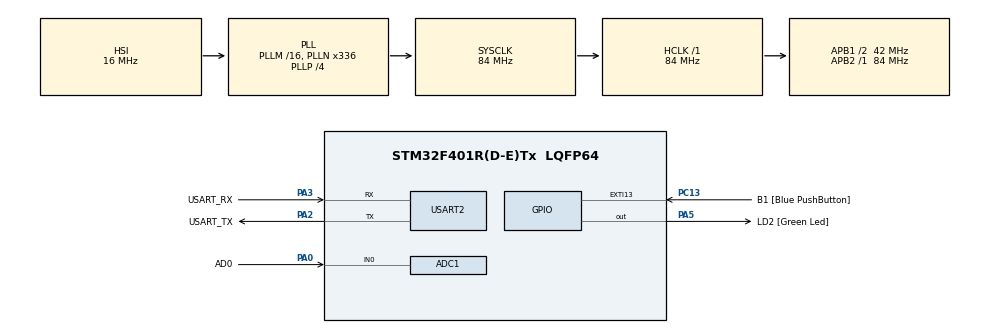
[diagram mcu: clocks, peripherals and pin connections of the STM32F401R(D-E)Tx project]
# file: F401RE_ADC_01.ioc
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ADC1.Channel-0\#ChannelRegularConversion=ADC_CHANNEL_0
ADC1.ContinuousConvMode=ENABLE
ADC1.NbrOfConversionFlag=1
ADC1.Rank-0\#ChannelRegularConversion=1
ADC1.SamplingTime-0\#ChannelRegularConversion=ADC_SAMPLETIME_3CYCLES
ADC1.master=1
Mcu.Family=STM32F4
Mcu.Name=STM32F401R(D-E)Tx
Mcu.Package=LQFP64
NVIC.ADC_IRQn=true\:0\:0\:false\:false\:true
NVIC.PriorityGroup=NVIC_PRIORITYGROUP_0
NVIC.USART2_IRQn=true\:0\:0\:false\:false\:true
PA0-WKUP.GPIO_Label=AD0
PA0-WKUP.Signal=ADCx_IN0
PA13.GPIO_Label=TMS
PA13.Signal=SYS_JTMS-SWDIO
PA14.GPIO_Label=TCK
PA14.Signal=SYS_JTCK-SWCLK
PA2.GPIO_Label=USART_TX
PA2.GPIO_Mode=GPIO_MODE_AF_PP
PA2.GPIO_PuPd=GPIO_NOPULL
PA2.GPIO_Speed=GPIO_SPEED_FREQ_LOW
PA2.Mode=Asynchronous
PA2.Signal=USART2_TX
PA3.GPIO_Label=USART_RX
PA3.GPIO_Mode=GPIO_MODE_AF_PP
PA3.GPIO_PuPd=GPIO_NOPULL
PA3.GPIO_Speed=GPIO_SPEED_FREQ_LOW
PA3.Mode=Asynchronous
PA3.Signal=USART2_RX
PA5.GPIO_Label=LD2 [Green Led]
PA5.GPIO_Mode=GPIO_MODE_OUTPUT_PP
PA5.GPIO_PuPd=GPIO_NOPULL
PA5.GPIO_Speed=GPIO_SPEED_FREQ_LOW
PA5.Signal=GPIO_Output
PB3.GPIO_Label=SWO
PB3.Signal=SYS_JTDO-SWO
PC13-ANTI_TAMP.GPIO_Label=B1 [Blue PushButton]
PC13-ANTI_TAMP.GPIO_ModeDefaultEXTI=GPIO_MODE_EVT_RISING
PC13-ANTI_TAMP.GPIO_PuPd=GPIO_NOPULL
PC13-ANTI_TAMP.Signal=GPXTI13
PC14-OSC32_IN.Signal=RCC_OSC32_IN
PC15-OSC32_OUT.Signal=RCC_OSC32_OUT
PH0\ -\ OSC_IN.Signal=RCC_OSC_IN
PH1\ -\ OSC_OUT.Signal=RCC_OSC_OUT
ProjectManager.HeapSize=0x200
ProjectManager.StackSize=0x400
ProjectManager.TargetToolchain=MDK-ARM V5
RCC.AHBFreq_Value=84000000
RCC.APB1CLKDivider=RCC_HCLK_DIV2
RCC.APB1Freq_Value=42000000
RCC.APB1TimFreq_Value=84000000
RCC.APB2Freq_Value=84000000
RCC.APB2TimFreq_Value=84000000
RCC.CortexFreq_Value=84000000
RCC.HCLKFreq_Value=84000000
RCC.HSE_VALUE=8000000
RCC.HSI_VALUE=16000000
RCC.LSE_VALUE=32768
RCC.PLLN=336
RCC.PLLP=RCC_PLLP_DIV4
RCC.PLLQ=7
RCC.SYSCLKFreq_VALUE=84000000
RCC.SYSCLKSource=RCC_SYSCLKSOURCE_PLLCLK
RCC.VCOOutputFreq_Value=336000000
SH.ADCx_IN0.0=ADC1_IN0,IN0
board=NUCLEO-F401RE

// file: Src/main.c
/**
  ******************************************************************************
  * File Name          : main.c
  * Description        : Main program body
  ******************************************************************************
  *
  * COPYRIGHT(c) 2016 STMicroelectronics
  *
  * Redistribution and use in source and binary forms, with or without modification,
  * are permitted provided that the following conditions are met:
  *   1. Redistributions of source code must retain the above copyright notice,
  *      this list of conditions and the following disclaimer.
  *   2. Redistributions in binary form must reproduce the above copyright notice,
  *      this list of conditions and the following disclaimer in the documentation
  *      and/or other materials provided with the distribution.
  *   3. Neither the name of STMicroelectronics nor the names of its contributors
  *      may be used to endorse or promote products derived from this software
  *      without specific prior written permission.
  *
  * THIS SOFTWARE IS PROVIDED BY THE COPYRIGHT HOLDERS AND CONTRIBUTORS "AS IS"
  * AND ANY EXPRESS OR IMPLIED WARRANTIES, INCLUDING, BUT NOT LIMITED TO, THE
  * IMPLIED WARRANTIES OF MERCHANTABILITY AND FITNESS FOR A PARTICULAR PURPOSE ARE
  * DISCLAIMED. IN NO EVENT SHALL THE COPYRIGHT HOLDER OR CONTRIBUTORS BE LIABLE
  * FOR ANY DIRECT, INDIRECT, INCIDENTAL, SPECIAL, EXEMPLARY, OR CONSEQUENTIAL
  * DAMAGES (INCLUDING, BUT NOT LIMITED TO, PROCUREMENT OF SUBSTITUTE GOODS OR
  * SERVICES; LOSS OF USE, DATA, OR PROFITS; OR BUSINESS INTERRUPTION) HOWEVER
  * CAUSED AND ON ANY THEORY OF LIABILITY, WHETHER IN CONTRACT, STRICT LIABILITY,
  * OR TORT (INCLUDING NEGLIGENCE OR OTHERWISE) ARISING IN ANY WAY OUT OF THE USE
  * OF THIS SOFTWARE, EVEN IF ADVISED OF THE POSSIBILITY OF SUCH DAMAGE.
  *
  ******************************************************************************
  */
#include "stm32f4xx_hal.h"

/* USER CODE BEGIN Includes */
#include <stdio.h>
#include <stdlib.h>
#include <string.h>
/* USER CODE END Includes */

ADC_HandleTypeDef hadc1;
UART_HandleTypeDef huart2;

/* USER CODE BEGIN PV */
/* Private variables ---------------------------------------------------------*/
int AdcValue = 0;
/* USER CODE END PV */

void SystemClock_Config(void);
void Error_Handler(void);
static void MX_GPIO_Init(void);
static void MX_ADC1_Init(void);
static void MX_USART2_UART_Init(void);

/* USER CODE BEGIN PFP */
/* Private function prototypes -----------------------------------------------*/
char sio_getc(void);		// UARTから1文字取得
void sio_putc(char);		// UARTに1文字を出力
void sio_puts(char *);	// UARTに文字列を出力
/* USER CODE END PFP */

/* USER CODE BEGIN 0 */
char sio_getc()
{
	char ch;
	while(HAL_UART_Receive(&huart2, (uint8_t *)&ch, 1, 1000)==HAL_TIMEOUT) ;
	return ch;
}

void sio_putc(char ch)
{
	HAL_UART_Transmit(&huart2, (uint8_t *)&ch, 1, 1000);
}

void sio_puts(char *str)
{
	HAL_UART_Transmit(&huart2, (uint8_t *)str, strlen(str), 1000);
}

void HAL_ADC_ConvCpltCallback(ADC_HandleTypeDef* hadc)
{
	AdcValue = HAL_ADC_GetValue(hadc);
	sio_puts("ADC IT\n");
}
/* USER CODE END 0 */

int main(void)
{

  /* USER CODE BEGIN 1 */
	char str[16];

  /* USER CODE END 1 */

  /* MCU Configuration----------------------------------------------------------*/

  /* Reset of all peripherals, Initializes the Flash interface and the Systick. */
  HAL_Init();

  /* Configure the system clock */
  SystemClock_Config();

  /* Initialize all configured peripherals */
  MX_GPIO_Init();
  MX_ADC1_Init();
  MX_USART2_UART_Init();

  /* USER CODE BEGIN 2 */
	HAL_ADCEx_InjectedStart(&hadc1);
	HAL_ADC_Start_IT(&hadc1);
  /* USER CODE END 2 */

  /* Infinite loop */
  /* USER CODE BEGIN WHILE */
  while (1)
  {
	  sprintf(str, "AD0: %04X\n", AdcValue);
	  sio_puts(str);
	  HAL_Delay(100);
  /* USER CODE END WHILE */

  }

}

/** System Clock Configuration
*/
void SystemClock_Config(void)
{

  RCC_OscInitTypeDef RCC_OscInitStruct;
  RCC_ClkInitTypeDef RCC_ClkInitStruct;

  __HAL_RCC_PWR_CLK_ENABLE();

  __HAL_PWR_VOLTAGESCALING_CONFIG(PWR_REGULATOR_VOLTAGE_SCALE2);

  RCC_OscInitStruct.OscillatorType = RCC_OSCILLATORTYPE_HSI;
  RCC_OscInitStruct.HSIState = RCC_HSI_ON;
  RCC_OscInitStruct.HSICalibrationValue = 16;
  RCC_OscInitStruct.PLL.PLLState = RCC_PLL_ON;
  RCC_OscInitStruct.PLL.PLLSource = RCC_PLLSOURCE_HSI;
  RCC_OscInitStruct.PLL.PLLM = 16;
  RCC_OscInitStruct.PLL.PLLN = 336;
  RCC_OscInitStruct.PLL.PLLP = RCC_PLLP_DIV4;
  RCC_OscInitStruct.PLL.PLLQ = 7;
  if (HAL_RCC_OscConfig(&RCC_OscInitStruct) != HAL_OK)
  {
    Error_Handler();
  }

  RCC_ClkInitStruct.ClockType = RCC_CLOCKTYPE_HCLK|RCC_CLOCKTYPE_SYSCLK
                              |RCC_CLOCKTYPE_PCLK1|RCC_CLOCKTYPE_PCLK2;
  RCC_ClkInitStruct.SYSCLKSource = RCC_SYSCLKSOURCE_PLLCLK;
  RCC_ClkInitStruct.AHBCLKDivider = RCC_SYSCLK_DIV1;
  RCC_ClkInitStruct.APB1CLKDivider = RCC_HCLK_DIV2;
  RCC_ClkInitStruct.APB2CLKDivider = RCC_HCLK_DIV1;
  if (HAL_RCC_ClockConfig(&RCC_ClkInitStruct, FLASH_LATENCY_2) != HAL_OK)
  {
    Error_Handler();
  }

  HAL_SYSTICK_Config(HAL_RCC_GetHCLKFreq()/1000);

  HAL_SYSTICK_CLKSourceConfig(SYSTICK_CLKSOURCE_HCLK);

  /* SysTick_IRQn interrupt configuration */
  HAL_NVIC_SetPriority(SysTick_IRQn, 0, 0);
}

/* ADC1 init function */
static void MX_ADC1_Init(void)
{

  ADC_ChannelConfTypeDef sConfig;

    /**Configure the global features of the ADC (Clock, Resolution, Data Alignment and number of conversion)
    */
  hadc1.Instance = ADC1;
  hadc1.Init.ClockPrescaler = ADC_CLOCK_SYNC_PCLK_DIV4;
  hadc1.Init.Resolution = ADC_RESOLUTION_12B;
  hadc1.Init.ScanConvMode = DISABLE;
  hadc1.Init.ContinuousConvMode = ENABLE;
  hadc1.Init.DiscontinuousConvMode = DISABLE;
  hadc1.Init.ExternalTrigConvEdge = ADC_EXTERNALTRIGCONVEDGE_NONE;
  hadc1.Init.DataAlign = ADC_DATAALIGN_RIGHT;
  hadc1.Init.NbrOfConversion = 1;
  hadc1.Init.DMAContinuousRequests = DISABLE;
  hadc1.Init.EOCSelection = ADC_EOC_SINGLE_CONV;
  if (HAL_ADC_Init(&hadc1) != HAL_OK)
  {
    Error_Handler();
  }

    /**Configure for the selected ADC regular channel its corresponding rank in the sequencer and its sample time.
    */
  sConfig.Channel = ADC_CHANNEL_0;
  sConfig.Rank = 1;
  sConfig.SamplingTime = ADC_SAMPLETIME_3CYCLES;
  if (HAL_ADC_ConfigChannel(&hadc1, &sConfig) != HAL_OK)
  {
    Error_Handler();
  }

}

/* USART2 init function */
static void MX_USART2_UART_Init(void)
{

  huart2.Instance = USART2;
  huart2.Init.BaudRate = 115200;
  huart2.Init.WordLength = UART_WORDLENGTH_8B;
  huart2.Init.StopBits = UART_STOPBITS_1;
  huart2.Init.Parity = UART_PARITY_NONE;
  huart2.Init.Mode = UART_MODE_TX_RX;
  huart2.Init.HwFlowCtl = UART_HWCONTROL_NONE;
  huart2.Init.OverSampling = UART_OVERSAMPLING_16;
  if (HAL_UART_Init(&huart2) != HAL_OK)
  {
    Error_Handler();
  }

}

/** Configure pins as
        * Analog
        * Input
        * Output
        * EVENT_OUT
        * EXTI
*/
static void MX_GPIO_Init(void)
{

  GPIO_InitTypeDef GPIO_InitStruct;

  /* GPIO Ports Clock Enable */
  __HAL_RCC_GPIOC_CLK_ENABLE();
  __HAL_RCC_GPIOH_CLK_ENABLE();
  __HAL_RCC_GPIOA_CLK_ENABLE();
  __HAL_RCC_GPIOB_CLK_ENABLE();

  /*Configure GPIO pin : B1_Pin */
  GPIO_InitStruct.Pin = B1_Pin;
  GPIO_InitStruct.Mode = GPIO_MODE_EVT_RISING;
  GPIO_InitStruct.Pull = GPIO_NOPULL;
  HAL_GPIO_Init(B1_GPIO_Port, &GPIO_InitStruct);

  /*Configure GPIO pin : LD2_Pin */
  GPIO_InitStruct.Pin = LD2_Pin;
  GPIO_InitStruct.Mode = GPIO_MODE_OUTPUT_PP;
  GPIO_InitStruct.Pull = GPIO_NOPULL;
  GPIO_InitStruct.Speed = GPIO_SPEED_FREQ_LOW;
  HAL_GPIO_Init(LD2_GPIO_Port, &GPIO_InitStruct);

  /*Configure GPIO pin Output Level */
  HAL_GPIO_WritePin(LD2_GPIO_Port, LD2_Pin, GPIO_PIN_RESET);

}

void Error_Handler(void)
{
  while(1)
  {
  }
}

/************************ (C) COPYRIGHT STMicroelectronics *****END OF FILE****/
